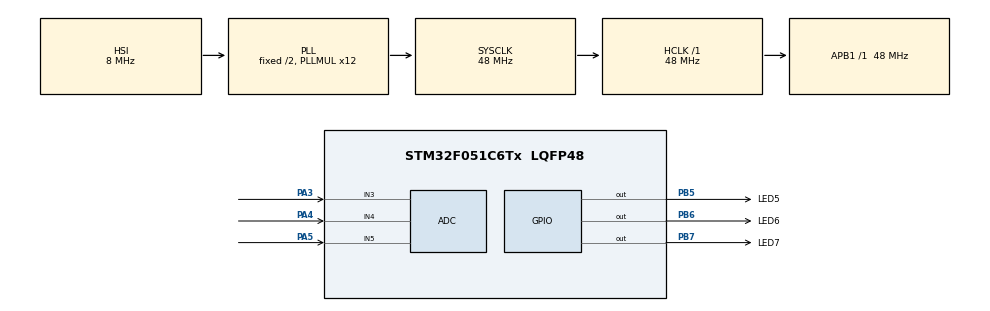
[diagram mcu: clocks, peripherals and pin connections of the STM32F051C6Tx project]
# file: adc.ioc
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ADC.ContinuousConvMode=DISABLE
ADC.DiscontinuousConvMode=ENABLE
ADC.Overrun=ADC_OVR_DATA_OVERWRITTEN
Mcu.Family=STM32F0
Mcu.Name=STM32F051C6Tx
Mcu.Package=LQFP48
PA13.Mode=Serial_Wire
PA13.Signal=SYS_SWDIO
PA14.Mode=Serial_Wire
PA14.Signal=SYS_SWCLK
PA3.Mode=IN3
PA3.Signal=ADC_IN3
PA4.Mode=IN4
PA4.Signal=ADC_IN4
PA5.Mode=IN5
PA5.Signal=ADC_IN5
PB5.GPIO_Label=LED5
PB5.Signal=GPIO_Output
PB6.GPIO_Label=LED6
PB6.Signal=GPIO_Output
PB7.GPIO_Label=LED7
PB7.Signal=GPIO_Output
ProjectManager.HeapSize=0x200
ProjectManager.StackSize=0x400
ProjectManager.TargetToolchain=Makefile
RCC.AHBFreq_Value=48000000
RCC.APB1Freq_Value=48000000
RCC.APB1TimFreq_Value=48000000
RCC.HCLKFreq_Value=48000000
RCC.PLLMUL=RCC_PLL_MUL12
RCC.SYSCLKFreq_VALUE=48000000
RCC.SYSCLKSource=RCC_SYSCLKSOURCE_PLLCLK
board=custom

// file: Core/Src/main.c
/* USER CODE BEGIN Header */
/**
  ******************************************************************************
  * @file           : main.c
  * @brief          : Main program body
  ******************************************************************************
  * @attention
  *
  * Copyright (c) 2024 STMicroelectronics.
  * All rights reserved.
  *
  * This software is licensed under terms that can be found in the LICENSE file
  * in the root directory of this software component.
  * If no LICENSE file comes with this software, it is provided AS-IS.
  *
  ******************************************************************************
  */
/* USER CODE END Header */
#include "main.h"
#include "adc.h"
#include "gpio.h"

/* USER CODE BEGIN Includes */
#include "lcd_stm32f0.h"
#include "stdio.h"
/* USER CODE END Includes */

/* USER CODE BEGIN PD */
/* Threshold value for ADC reading */
#define THRESHOLD 1900 // Adjust threshold value as needed

/* LED pins */
#define LED_LEFT_Pin  GPIO_PIN_7
#define LED_LEFT_GPIO_Port  GPIOB
#define LED_FRONT_Pin GPIO_PIN_6
#define LED_FRONT_GPIO_Port GPIOB
#define LED_RIGHT_Pin GPIO_PIN_5
#define LED_RIGHT_GPIO_Port GPIOB
/* USER CODE END PD */

/* USER CODE BEGIN PV */
//JUSTIN - START 1/3
uint16_t adc_value_left;
uint16_t adc_value_front;
uint16_t adc_value_right;

// char LCD_buffer[];
//JUSTIN - END
/* USER CODE END PV */

void SystemClock_Config(void);

int main(void)
{

  /* MCU Configuration--------------------------------------------------------*/

  /* Reset of all peripherals, Initializes the Flash interface and the Systick. */
  HAL_Init();

  /* Configure the system clock */
  SystemClock_Config();

  /* Initialize all configured peripherals */
  MX_GPIO_Init();
  MX_ADC_Init();

  /* Infinite loop */
  /* USER CODE BEGIN WHILE */

  // init_LCD();

  while (1)
  {
    /* USER CODE END WHILE */

    /* USER CODE BEGIN 3 */
    //JUSTIN - START 2/3
    // lcd_command(CLEAR);

    ADC1 -> CHSELR = ADC_CHSELR_CHSEL3; //left sensor's channel
    HAL_ADC_Start(&hadc);
    HAL_Delay(10);
    while(HAL_ADC_PollForConversion(&hadc,HAL_MAX_DELAY)!= HAL_OK);
    HAL_ADC_Stop(&hadc);
    adc_value_left = HAL_ADC_GetValue(&hadc);

    ADC1 -> CHSELR = ADC_CHSELR_CHSEL4; //front sensor's channel
    HAL_ADC_Start(&hadc);
    HAL_Delay(10);
    while(HAL_ADC_PollForConversion(&hadc,HAL_MAX_DELAY)!= HAL_OK);
    HAL_ADC_Stop(&hadc);
    adc_value_front = HAL_ADC_GetValue(&hadc);

    ADC1 -> CHSELR = ADC_CHSELR_CHSEL5; //right sensor's channel
    HAL_ADC_Start(&hadc);
    HAL_Delay(10);
    while(HAL_ADC_PollForConversion(&hadc,HAL_MAX_DELAY)!= HAL_OK);
    HAL_ADC_Stop(&hadc);
    adc_value_right = HAL_ADC_GetValue(&hadc);

    if (adc_value_left > THRESHOLD) {
        // Activate LED for PA3 (left)
        HAL_GPIO_WritePin(LED_LEFT_GPIO_Port, LED_LEFT_Pin, GPIO_PIN_SET);
    } else {
        HAL_GPIO_WritePin(LED_LEFT_GPIO_Port, LED_LEFT_Pin, GPIO_PIN_RESET);
    }

    if (adc_value_front > THRESHOLD) {
        // Activate LED for PA4 (front)
        HAL_GPIO_WritePin(LED_FRONT_GPIO_Port, LED_FRONT_Pin, GPIO_PIN_SET);
    } else {
        HAL_GPIO_WritePin(LED_FRONT_GPIO_Port, LED_FRONT_Pin, GPIO_PIN_RESET);
    }

    if (adc_value_right > THRESHOLD) {
        // Activate LED for PA5 (right)
        HAL_GPIO_WritePin(LED_RIGHT_GPIO_Port, LED_RIGHT_Pin, GPIO_PIN_SET);
    } else {
        HAL_GPIO_WritePin(LED_RIGHT_GPIO_Port, LED_RIGHT_Pin, GPIO_PIN_RESET);
    }

    // // Prints to LCD
    // sprintf(LCD_buffer, "CHANNEL 4: %d", adc_value_front); // Convert integer to string
    // lcd_putstring(LCD_buffer);
    // lcd_command(LINE_TWO);
    // sprintf(LCD_buffer, "CHANNEL 5: %d", adc_value_right); // Convert integer to string
    // lcd_putstring(LCD_buffer);
    // HAL_Delay(500);

    //JUSTIN - END
  }
  /* USER CODE END 3 */
}

void SystemClock_Config(void)
{
  RCC_OscInitTypeDef RCC_OscInitStruct = {0};
  RCC_ClkInitTypeDef RCC_ClkInitStruct = {0};

  /** Initializes the RCC Oscillators according to the specified parameters
  * in the RCC_OscInitTypeDef structure.
  */
  RCC_OscInitStruct.OscillatorType = RCC_OSCILLATORTYPE_HSI|RCC_OSCILLATORTYPE_HSI14;
  RCC_OscInitStruct.HSIState = RCC_HSI_ON;
  RCC_OscInitStruct.HSI14State = RCC_HSI14_ON;
  RCC_OscInitStruct.HSICalibrationValue = RCC_HSICALIBRATION_DEFAULT;
  RCC_OscInitStruct.HSI14CalibrationValue = 16;
  RCC_OscInitStruct.PLL.PLLState = RCC_PLL_ON;
  RCC_OscInitStruct.PLL.PLLSource = RCC_PLLSOURCE_HSI;
  RCC_OscInitStruct.PLL.PLLMUL = RCC_PLL_MUL12;
  RCC_OscInitStruct.PLL.PREDIV = RCC_PREDIV_DIV1;
  if (HAL_RCC_OscConfig(&RCC_OscInitStruct) != HAL_OK)
  {
    Error_Handler();
  }

  /** Initializes the CPU, AHB and APB buses clocks
  */
  RCC_ClkInitStruct.ClockType = RCC_CLOCKTYPE_HCLK|RCC_CLOCKTYPE_SYSCLK
                              |RCC_CLOCKTYPE_PCLK1;
  RCC_ClkInitStruct.SYSCLKSource = RCC_SYSCLKSOURCE_PLLCLK;
  RCC_ClkInitStruct.AHBCLKDivider = RCC_SYSCLK_DIV1;
  RCC_ClkInitStruct.APB1CLKDivider = RCC_HCLK_DIV1;

  if (HAL_RCC_ClockConfig(&RCC_ClkInitStruct, FLASH_LATENCY_1) != HAL_OK)
  {
    Error_Handler();
  }
}

/* USER CODE BEGIN 4 */
//JUSTIN - START 3/3
/* I took this code from the adc.c file - In the init section.
* Regrettably setting up the ADC for reading multiple channels is not great without using DMA (scary)
* So you would need to just look at that file and work out how to modify your set channel accordingly.
*/
void adc_set_channel(uint16_t adcChannelNum) {
    ADC_ChannelConfTypeDef sConfig = {0};
    sConfig.Channel = adcChannelNum;
    sConfig.Rank = ADC_RANK_CHANNEL_NUMBER;
    sConfig.SamplingTime = ADC_SAMPLETIME_1CYCLE_5;
    if (HAL_ADC_ConfigChannel(&hadc, &sConfig) != HAL_OK)
    {
      Error_Handler();
    }
}
//JUSTIN - END
/* USER CODE END 4 */

void Error_Handler(void)
{
  __disable_irq();
  while (1)
  {
  }
}
